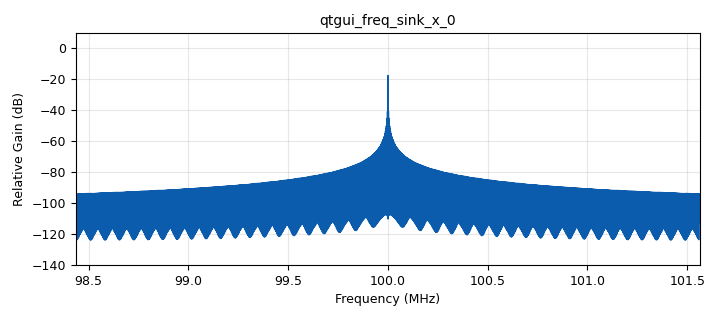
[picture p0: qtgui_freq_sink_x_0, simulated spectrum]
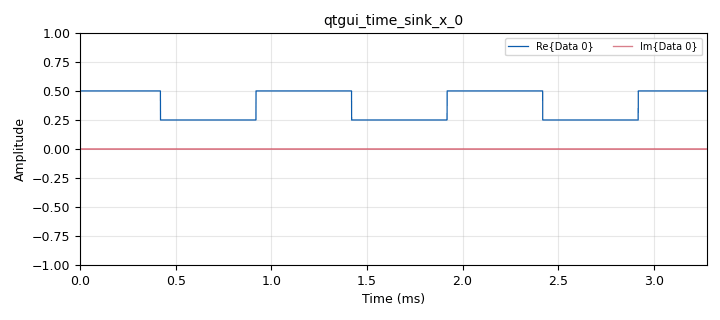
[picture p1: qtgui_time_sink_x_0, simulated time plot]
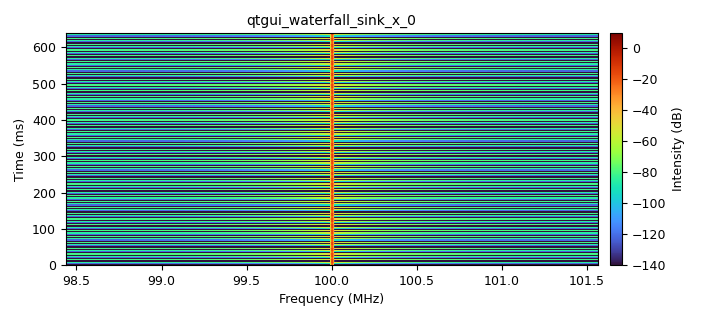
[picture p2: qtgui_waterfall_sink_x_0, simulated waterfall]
options:
  parameters:
    generate_options: qt_gui
    id: Mision3B1C_G4
    output_language: python
    title: Mision 3 EP CR
  states: {}

blocks:
- name: Ac
  id: variable_qtgui_range
  parameters:
    label: Amplitud portadora
    start: '0'
    step: '0.01'
    stop: '0.5'
    value: '0.25'
  states: {}
- name: Am
  id: variable_qtgui_range
  parameters:
    label: Amplitud TX
    start: '0'
    step: '0.01'
    stop: '1'
    value: '1'
  states: {}
- name: GTX
  id: variable_qtgui_range
  parameters:
    label: Ganancia TX [dB]
    start: '0'
    step: '1'
    stop: '30'
    value: '0'
  states: {}
- name: fc
  id: variable_qtgui_range
  parameters:
    label: frecuencia TX [MHz]
    start: '50'
    step: '0.1'
    stop: '2200'
    value: '100'
  states: {}
- name: fm
  id: variable_qtgui_range
  parameters:
    label: fecuencia mensaje
    start: '100'
    step: '100'
    stop: '20000'
    value: '1000'
  states: {}
- name: ka
  id: variable_qtgui_range
  parameters:
    start: '0'
    step: '0.01'
    stop: '4'
    value: '1'
  states: {}
- name: samp_rate
  id: variable
  parameters:
    value: 12500000/4
  states: {}
- name: analog_const_source_x_0
  id: analog_const_source_x
  parameters:
    const: Am
    type: complex
  states: {state: disabled}
- name: analog_sig_source_x_0
  id: analog_sig_source_x
  parameters:
    amp: Am
    freq: fm
    offset: '0'
    phase: '0'
    samp_rate: samp_rate
    type: float
    waveform: analog.GR_SQR_WAVE
  states: {}
- name: audio_source_0
  id: audio_source
  parameters:
    samp_rate: '44100'
  states: {state: disabled}
- name: blocks_add_const_vxx_0
  id: blocks_add_const_vxx
  parameters:
    const: '1'
    type: float
  states: {}
- name: blocks_float_to_complex_0
  id: blocks_float_to_complex
  parameters: {}
  states: {}
- name: blocks_multiply_const_vxx_0
  id: blocks_multiply_const_vxx
  parameters:
    const: ka
    type: float
  states: {}
- name: blocks_multiply_const_vxx_0_0
  id: blocks_multiply_const_vxx
  parameters:
    const: Ac
    type: complex
  states: {}
- name: blocks_wavfile_source_0
  id: blocks_wavfile_source
  parameters:
    file: /home/estudiante/Descargas/algomegustadeti_WY.wav
    repeat: 'True'
  states: {state: disabled}
- name: qtgui_freq_sink_x_0
  id: qtgui_freq_sink_x
  parameters:
    bw: samp_rate
    fc: fc*1e6
    fftsize: '16384'
    type: complex
  states: {}
- name: qtgui_time_sink_x_0
  id: qtgui_time_sink_x
  parameters:
    size: '10240'
    srate: samp_rate
    type: complex
  states: {}
- name: qtgui_waterfall_sink_x_0
  id: qtgui_waterfall_sink_x
  parameters:
    bw: samp_rate
    fc: fc*1e6
    fftsize: '1024'
    type: complex
  states: {}
- name: rational_resampler_xxx_0
  id: rational_resampler_xxx
  parameters:
    decim: '44100'
    interp: int(samp_rate)
    type: fff
  states: {state: disabled}
- name: uhd_usrp_sink_0
  id: uhd_usrp_sink
  parameters:
    ant0: '"TX/RX"'
    center_freq0: fc*1e6
    gain0: GTX
    samp_rate: samp_rate
    sync: pc_clock
    type: fc32
  states: {}

connections:
- [analog_const_source_x_0, '0', qtgui_freq_sink_x_0, '0']
- [analog_const_source_x_0, '0', qtgui_waterfall_sink_x_0, '0']
- [analog_const_source_x_0, '0', uhd_usrp_sink_0, '0']
- [analog_sig_source_x_0, '0', blocks_multiply_const_vxx_0, '0']
- [audio_source_0, '0', rational_resampler_xxx_0, '0']
- [blocks_add_const_vxx_0, '0', blocks_float_to_complex_0, '0']
- [blocks_float_to_complex_0, '0', blocks_multiply_const_vxx_0_0, '0']
- [blocks_multiply_const_vxx_0, '0', blocks_add_const_vxx_0, '0']
- [blocks_multiply_const_vxx_0_0, '0', qtgui_freq_sink_x_0, '0']
- [blocks_multiply_const_vxx_0_0, '0', qtgui_time_sink_x_0, '0']
- [blocks_multiply_const_vxx_0_0, '0', qtgui_waterfall_sink_x_0, '0']
- [blocks_multiply_const_vxx_0_0, '0', uhd_usrp_sink_0, '0']
- [blocks_wavfile_source_0, '0', rational_resampler_xxx_0, '0']
- [rational_resampler_xxx_0, '0', blocks_multiply_const_vxx_0, '0']

metadata:
  file_format: 1
  grc_version: v3.10.11.0-89-ga17f69e7
